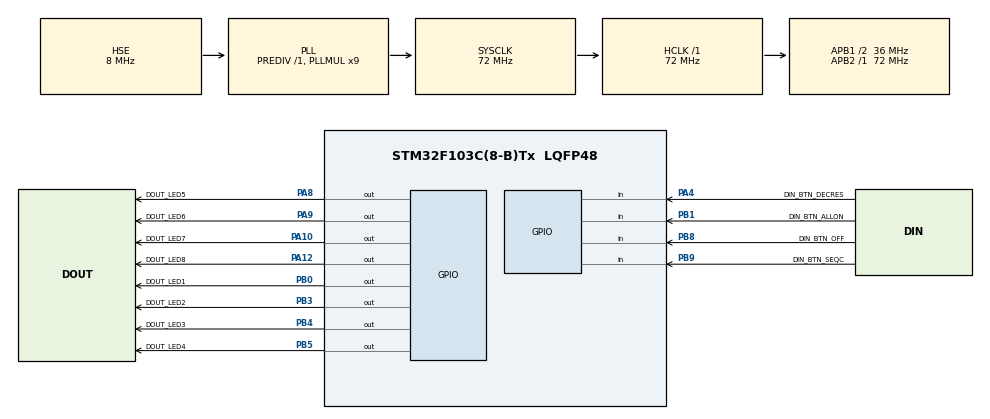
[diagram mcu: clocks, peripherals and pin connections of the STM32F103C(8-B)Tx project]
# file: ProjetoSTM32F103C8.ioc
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Mcu.Family=STM32F1
Mcu.Name=STM32F103C(8-B)Tx
Mcu.Package=LQFP48
NVIC.PriorityGroup=NVIC_PRIORITYGROUP_4
PA10.GPIO_Label=DOUT_LED7
PA10.Signal=GPIO_Output
PA12.GPIO_Label=DOUT_LED8
PA12.Signal=GPIO_Output
PA13.Mode=Serial_Wire
PA13.Signal=SYS_JTMS-SWDIO
PA14.Mode=Serial_Wire
PA14.Signal=SYS_JTCK-SWCLK
PA4.GPIO_Label=DIN_BTN_DECRES
PA4.Signal=GPIO_Input
PA8.GPIO_Label=DOUT_LED5
PA8.Signal=GPIO_Output
PA9.GPIO_Label=DOUT_LED6
PA9.Signal=GPIO_Output
PB0.GPIO_Label=DOUT_LED1
PB0.Signal=GPIO_Output
PB1.GPIO_Label=DIN_BTN_ALLON
PB1.GPIO_PuPd=GPIO_PULLUP
PB1.Signal=GPIO_Input
PB3.GPIO_Label=DOUT_LED2
PB3.Signal=GPIO_Output
PB4.GPIO_Label=DOUT_LED3
PB4.Signal=GPIO_Output
PB5.GPIO_Label=DOUT_LED4
PB5.Signal=GPIO_Output
PB8.GPIO_Label=DIN_BTN_OFF
PB8.GPIO_PuPd=GPIO_PULLUP
PB8.Signal=GPIO_Input
PB9.GPIO_Label=DIN_BTN_SEQC
PB9.GPIO_PuPd=GPIO_PULLUP
PB9.Signal=GPIO_Input
PD0-OSC_IN.Mode=HSE-External-Oscillator
PD0-OSC_IN.Signal=RCC_OSC_IN
PD1-OSC_OUT.Mode=HSE-External-Oscillator
PD1-OSC_OUT.Signal=RCC_OSC_OUT
ProjectManager.HeapSize=0x200
ProjectManager.StackSize=0x400
ProjectManager.TargetToolchain=STM32CubeIDE
RCC.AHBFreq_Value=72000000
RCC.APB1CLKDivider=RCC_HCLK_DIV2
RCC.APB1Freq_Value=36000000
RCC.APB1TimFreq_Value=72000000
RCC.APB2Freq_Value=72000000
RCC.APB2TimFreq_Value=72000000
RCC.HCLKFreq_Value=72000000
RCC.PLLMUL=RCC_PLL_MUL9
RCC.PLLSourceVirtual=RCC_PLLSOURCE_HSE
RCC.SYSCLKFreq_VALUE=72000000
RCC.SYSCLKSource=RCC_SYSCLKSOURCE_PLLCLK
RCC.USBFreq_Value=72000000
board=custom

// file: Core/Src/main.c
/* USER CODE BEGIN Header */
/**
  ******************************************************************************
  * @file           : main.c
  * @brief          : Main program body
  ******************************************************************************
  * @attention
  *
  * <h2><center>&copy; Copyright (c) 2020 STMicroelectronics.
  * All rights reserved.</center></h2>
  *
  * This software component is licensed by ST under BSD 3-Clause license,
  * the "License"; You may not use this file except in compliance with the
  * License. You may obtain a copy of the License at:
  *                        opensource.org/licenses/BSD-3-Clause
  *
  ******************************************************************************
  */
/* USER CODE END Header */

#include "main.h"

/* USER CODE BEGIN PTD */

typedef enum //criar um tipo para variaveis booleanas
{
	Bit_RESET = 0,
	Bit_Set
}bitAction;

typedef enum
{
	estadoOFF = 0,
	estadoON,
	estadoCres,
	estadoDecres
}estadoMaquina;

typedef enum
{
	LedsOff = 0,
	LedsOn,
	LedsCrescente,
	LedsDeCrescente
}Leds;
Leds ledsMode;

typedef uint8_t uint8;

/* USER CODE END PTD */

/* USER CODE BEGIN PV */
bitAction dinBtnOnVal, dinBtnOffVal, dinBtnCres, dinBtnDecres; //variaveis para controle da funcao de modo de acionamento dos leds
/* USER CODE END PV */

void SystemClock_Config(void);
static void MX_GPIO_Init(void);
/* USER CODE BEGIN PFP */
void check_Din_Values();
void modoLeds(Leds output);
bitAction Din_btn_LoEdge(bitAction din_input);
/* USER CODE END PFP */

int main(void)
{
  /* USER CODE BEGIN 1 */
	estadoMaquina machineEstate;

  /* USER CODE END 1 */

  /* MCU Configuration--------------------------------------------------------*/

  /* Reset of all peripherals, Initializes the Flash interface and the Systick. */
  HAL_Init();

  /* Configure the system clock */
  SystemClock_Config();

  /* Initialize all configured peripherals */
  MX_GPIO_Init();

  /* Infinite loop */
	while (1) {

    /* USER CODE BEGIN 3 */
		Delayms(100);

		switch(machineEstate)
		{
			case estadoOFF:
			{
				if(Din_btn_LoEdge(dinBtnOnVal)==Bit_Set)//EVENTO - SE BOTÃO b1 FOR PRESSIONADO
				{
					machineEstate = estadoON;
					modoLeds(LedsOn);
				}
			}
			break;

			case estadoON:
			{
				if(Din_btn_LoEdge(dinBtnOffVal) == Bit_Set)
				{

					machineEstate = estadoOFF;
					modoLeds(LedsOff);
				}
			}
			break;

			case estadoCres:
			{
				if(Din_btn_LoEdge(dinBtnCres) == Bit_Set)
				{
					machineEstate = estadoON;
					modoLeds(LedsCrescente);
				}
			}
			break;

			case estadoDecres:
					{
						if(Din_btn_LoEdge(dinBtnDecres) == Bit_Set)
						{
							machineEstate = estadoOFF;
							modoLeds(LedsDeCrescente);
						}
					}

			/*
			 *
			 * incluir caso sequencial e decrescente
			 *
			 *
			 *
			 */

		}

	}
  /* USER CODE END 3 */
}

void SystemClock_Config(void)
{
  RCC_OscInitTypeDef RCC_OscInitStruct = {0};
  RCC_ClkInitTypeDef RCC_ClkInitStruct = {0};

  /** Initializes the CPU, AHB and APB busses clocks
  */
  RCC_OscInitStruct.OscillatorType = RCC_OSCILLATORTYPE_HSE;
  RCC_OscInitStruct.HSEState = RCC_HSE_ON;
  RCC_OscInitStruct.HSEPredivValue = RCC_HSE_PREDIV_DIV1;
  RCC_OscInitStruct.HSIState = RCC_HSI_ON;
  RCC_OscInitStruct.PLL.PLLState = RCC_PLL_ON;
  RCC_OscInitStruct.PLL.PLLSource = RCC_PLLSOURCE_HSE;
  RCC_OscInitStruct.PLL.PLLMUL = RCC_PLL_MUL9;
  if (HAL_RCC_OscConfig(&RCC_OscInitStruct) != HAL_OK)
  {
    Error_Handler();
  }
  /** Initializes the CPU, AHB and APB busses clocks
  */
  RCC_ClkInitStruct.ClockType = RCC_CLOCKTYPE_HCLK|RCC_CLOCKTYPE_SYSCLK
                              |RCC_CLOCKTYPE_PCLK1|RCC_CLOCKTYPE_PCLK2;
  RCC_ClkInitStruct.SYSCLKSource = RCC_SYSCLKSOURCE_PLLCLK;
  RCC_ClkInitStruct.AHBCLKDivider = RCC_SYSCLK_DIV1;
  RCC_ClkInitStruct.APB1CLKDivider = RCC_HCLK_DIV2;
  RCC_ClkInitStruct.APB2CLKDivider = RCC_HCLK_DIV1;

  if (HAL_RCC_ClockConfig(&RCC_ClkInitStruct, FLASH_LATENCY_2) != HAL_OK)
  {
    Error_Handler();
  }
}

static void MX_GPIO_Init(void)
{
  GPIO_InitTypeDef GPIO_InitStruct = {0};

  /* GPIO Ports Clock Enable */
  __HAL_RCC_GPIOD_CLK_ENABLE();
  __HAL_RCC_GPIOA_CLK_ENABLE();
  __HAL_RCC_GPIOB_CLK_ENABLE();

  /*Configure GPIO pin Output Level */
  HAL_GPIO_WritePin(GPIOB, DOUT_LED1_Pin|DOUT_LED2_Pin|DOUT_LED3_Pin|DOUT_LED4_Pin, GPIO_PIN_RESET);

  /*Configure GPIO pin Output Level */
  HAL_GPIO_WritePin(GPIOA, DOUT_LED5_Pin|DOUT_LED6_Pin|DOUT_LED7_Pin|DOUT_LED8_Pin, GPIO_PIN_RESET);

  /*Configure GPIO pin : DIN_BTN_DECRES_Pin */
  GPIO_InitStruct.Pin = DIN_BTN_DECRES_Pin;
  GPIO_InitStruct.Mode = GPIO_MODE_INPUT;
  GPIO_InitStruct.Pull = GPIO_NOPULL;
  HAL_GPIO_Init(DIN_BTN_DECRES_GPIO_Port, &GPIO_InitStruct);

  /*Configure GPIO pins : DOUT_LED1_Pin DOUT_LED2_Pin DOUT_LED3_Pin DOUT_LED4_Pin */
  GPIO_InitStruct.Pin = DOUT_LED1_Pin|DOUT_LED2_Pin|DOUT_LED3_Pin|DOUT_LED4_Pin;
  GPIO_InitStruct.Mode = GPIO_MODE_OUTPUT_PP;
  GPIO_InitStruct.Pull = GPIO_NOPULL;
  GPIO_InitStruct.Speed = GPIO_SPEED_FREQ_LOW;
  HAL_GPIO_Init(GPIOB, &GPIO_InitStruct);

  /*Configure GPIO pins : DIN_BTN_ALLON_Pin DIN_BTN_OFF_Pin DIN_BTN_SEQC_Pin */
  GPIO_InitStruct.Pin = DIN_BTN_ALLON_Pin|DIN_BTN_OFF_Pin|DIN_BTN_SEQC_Pin;
  GPIO_InitStruct.Mode = GPIO_MODE_INPUT;
  GPIO_InitStruct.Pull = GPIO_PULLUP;
  HAL_GPIO_Init(GPIOB, &GPIO_InitStruct);

  /*Configure GPIO pins : DOUT_LED5_Pin DOUT_LED6_Pin DOUT_LED7_Pin DOUT_LED8_Pin */
  GPIO_InitStruct.Pin = DOUT_LED5_Pin|DOUT_LED6_Pin|DOUT_LED7_Pin|DOUT_LED8_Pin;
  GPIO_InitStruct.Mode = GPIO_MODE_OUTPUT_PP;
  GPIO_InitStruct.Pull = GPIO_NOPULL;
  GPIO_InitStruct.Speed = GPIO_SPEED_FREQ_LOW;
  HAL_GPIO_Init(GPIOA, &GPIO_InitStruct);

}

/* USER CODE BEGIN 4 */
//interrupção gerada a cada 1ms
void HAL_SYSTICK_Callback()
{

	DelayIncCnt(); //incrementa base de tempo para a geração de tempo
	check_Din_Values();

}

//função para leitura das entradas digitais
void check_Din_Values(){
	static uint8 cntTick;
	cntTick++;
	if(cntTick >= 20)//a cada 20ms faz uma
	{
		cntTick = 0;
		dinBtnOnVal = HAL_GPIO_ReadPin(DIN_BTN_ALLON_GPIO_Port, DIN_BTN_ALLON_Pin); // BOTAO ON RECEBE VALOR LIDO
		dinBtnOffVal = HAL_GPIO_ReadPin(DIN_BTN_OFF_GPIO_Port, DIN_BTN_OFF_Pin);	//BOTAO OFF RECEBE VALOR LIDO
		dinBtnOffVal = HAL_GPIO_ReadPin(DIN_BTN_SEQC_GPIO_Port, DIN_BTN_SEQC_Pin);	//BOTAO SEQUENCIA_CRESCENTE RECEBE VALOR LIDO
		dinBtnOffVal = HAL_GPIO_ReadPin(DIN_BTN_DECRES_GPIO_Port, DIN_BTN_DECRES_Pin);	//BOTAO DECRESCENTE RECEBE VALOR LIDO

	}

}

//Verifica a borda de descida na entrada DIN_BUTTON
bitAction Din_btn_LoEdge(bitAction din_input)//recebe o botão que será lido e comparado
{
	  bitAction pin_value, old;
	  static bitAction old_pin_value;

	 pin_value = din_input;
	 old = old_pin_value;
	 old_pin_value = pin_value;

	  if(pin_value != Bit_RESET)
	  {
	    return(Bit_RESET);
	  }
	  else if(old == Bit_RESET)
	  {
	    return(Bit_RESET);
	  }
	  else
	  {
	    return(Bit_Set);
	  }
}

void modoLeds(Leds leds_output)	//função que controla a sequencia de acionamento do leds
{
	uint8_t varredura;

	uint16_t pinos[8] = { DOUT_LED1_Pin, DOUT_LED2_Pin, DOUT_LED3_Pin,
			DOUT_LED4_Pin, DOUT_LED5_Pin, DOUT_LED6_Pin, DOUT_LED7_Pin,
			DOUT_LED8_Pin};

	switch (leds_output)
	{
		case LedsOn:
		{
			for (varredura = 0; varredura <= 5; varredura++)
			{
				HAL_GPIO_WritePin(DOUT_LED1_GPIO_Port, pinos[varredura], Bit_Set);

			}

			for (varredura = 4 ; varredura <=8; varredura++)
			{
				HAL_GPIO_WritePin(DOUT_LED5_GPIO_Port, pinos[varredura], Bit_Set);

			}
		}
		break;

		case LedsOff:
		{
			for(varredura = 0; varredura <= 5; varredura++)
			{
				HAL_GPIO_WritePin(DOUT_LED1_GPIO_Port, pinos[varredura], Bit_RESET);
			}

			for(varredura = 4; varredura <= 8; varredura++)
			{
				HAL_GPIO_WritePin(DOUT_LED5_GPIO_Port, pinos[varredura], Bit_RESET);
			}
		}
		break;

		case LedsCrescente:
		{
			for(varredura = 0; varredura <= 5; varredura++)
			{
				HAL_GPIO_WritePin(DOUT_LED1_GPIO_Port, pinos[varredura], Bit_Set);
				Delayms(300);
			}
			for(varredura = 4; varredura <= 8; varredura++)
			{
				HAL_GPIO_WritePin(DOUT_LED5_GPIO_Port, pinos[varredura], Bit_Set);
				Delayms(300);
			}
		}
		break;

		case LedsDeCrescente:
			{
				for(varredura = 8; varredura >= 4; varredura--)
				{
					HAL_GPIO_WritePin(DOUT_LED1_GPIO_Port, pinos[varredura], Bit_RESET);
					Delayms(300);
				}
				for(varredura = 4; varredura >= 0; varredura--)
				{
					HAL_GPIO_WritePin(DOUT_LED5_GPIO_Port, pinos[varredura], Bit_Set);
					Delayms(300);
				}
			}
			break;

	}
}
/* USER CODE END 4 */

void Error_Handler(void)
{
}

/************************ (C) COPYRIGHT STMicroelectronics *****END OF FILE****/
